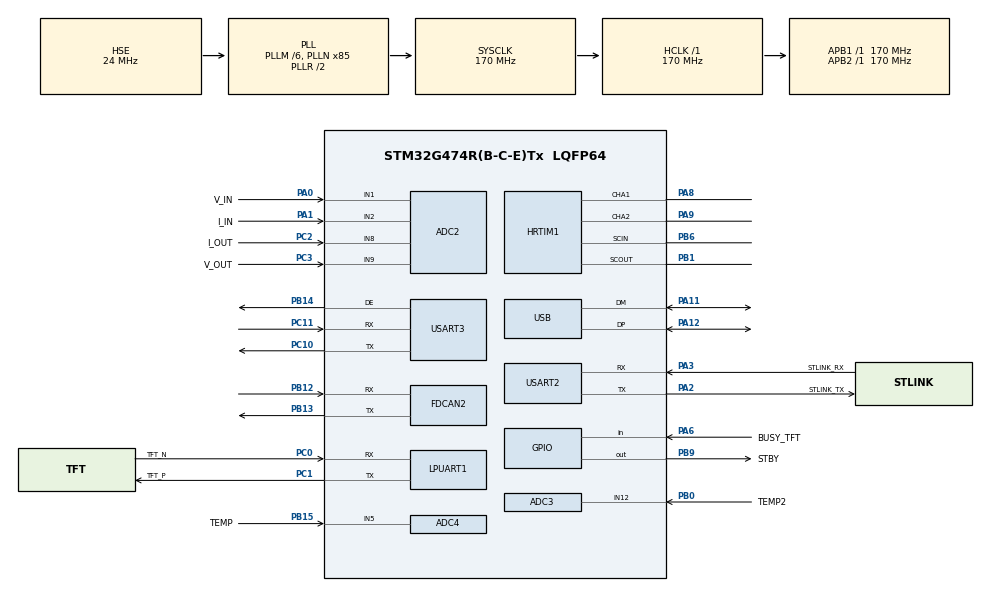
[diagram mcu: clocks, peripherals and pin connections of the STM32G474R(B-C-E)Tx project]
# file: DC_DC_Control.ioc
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ADC2.Channel-0\#ChannelRegularConversion=ADC_CHANNEL_1
ADC2.Channel-1\#ChannelRegularConversion=ADC_CHANNEL_2
ADC2.Channel-2\#ChannelRegularConversion=ADC_CHANNEL_9
ADC2.Channel-3\#ChannelRegularConversion=ADC_CHANNEL_8
ADC2.ContinuousConvMode=DISABLE
ADC2.DMAContinuousRequests=DISABLE
ADC2.ExternalTrigConv=ADC_EXTERNALTRIG_HRTIM_TRG1
ADC2.NbrOfConversion=4
ADC2.NbrOfConversionFlag=1
ADC2.OffsetNumber-0\#ChannelRegularConversion=ADC_OFFSET_NONE
ADC2.OffsetNumber-1\#ChannelRegularConversion=ADC_OFFSET_NONE
ADC2.OffsetNumber-2\#ChannelRegularConversion=ADC_OFFSET_NONE
ADC2.OffsetNumber-3\#ChannelRegularConversion=ADC_OFFSET_NONE
ADC2.Overrun=ADC_OVR_DATA_OVERWRITTEN
ADC2.Rank-0\#ChannelRegularConversion=1
ADC2.Rank-1\#ChannelRegularConversion=2
ADC2.Rank-2\#ChannelRegularConversion=3
ADC2.Rank-3\#ChannelRegularConversion=4
ADC2.SamplingTime-0\#ChannelRegularConversion=ADC_SAMPLETIME_2CYCLES_5
ADC2.SamplingTime-1\#ChannelRegularConversion=ADC_SAMPLETIME_2CYCLES_5
ADC2.SamplingTime-2\#ChannelRegularConversion=ADC_SAMPLETIME_2CYCLES_5
ADC2.SamplingTime-3\#ChannelRegularConversion=ADC_SAMPLETIME_2CYCLES_5
ADC3.Channel-1\#ChannelRegularConversion=ADC_CHANNEL_12
ADC3.NbrOfConversionFlag=1
ADC3.OffsetNumber-1\#ChannelRegularConversion=ADC_OFFSET_NONE
ADC3.Rank-1\#ChannelRegularConversion=1
ADC3.SamplingTime-1\#ChannelRegularConversion=ADC_SAMPLETIME_2CYCLES_5
ADC3.master=1
ADC4.Channel-0\#ChannelRegularConversion=ADC_CHANNEL_5
ADC4.NbrOfConversionFlag=1
ADC4.OffsetNumber-0\#ChannelRegularConversion=ADC_OFFSET_NONE
ADC4.Rank-0\#ChannelRegularConversion=1
ADC4.SamplingTime-0\#ChannelRegularConversion=ADC_SAMPLETIME_2CYCLES_5
Dma.ADC2.0.Direction=DMA_PERIPH_TO_MEMORY
Dma.ADC2.0.EventEnable=DISABLE
Dma.ADC2.0.Instance=DMA1_Channel1
Dma.ADC2.0.MemDataAlignment=DMA_MDATAALIGN_HALFWORD
Dma.ADC2.0.MemInc=DMA_MINC_ENABLE
Dma.ADC2.0.Mode=DMA_NORMAL
Dma.ADC2.0.PeriphDataAlignment=DMA_PDATAALIGN_HALFWORD
Dma.ADC2.0.PeriphInc=DMA_PINC_DISABLE
Dma.ADC2.0.Polarity=HAL_DMAMUX_REQ_GEN_RISING
Dma.ADC2.0.Priority=DMA_PRIORITY_LOW
Dma.ADC2.0.RequestNumber=1
Dma.ADC2.0.SignalID=NONE
Dma.ADC2.0.SyncEnable=DISABLE
Dma.ADC2.0.SyncPolarity=HAL_DMAMUX_SYNC_NO_EVENT
Dma.ADC2.0.SyncRequestNumber=1
Dma.ADC2.0.SyncSignalID=NONE
Dma.Request0=ADC2
FDCAN2.CalculateBaudRateNominal=2125000
FDCAN2.CalculateTimeBitNominal=470
FDCAN2.CalculateTimeQuantumNominal=94.11764705882354
HRTIM1.ADCTrigger2_Source1=HRTIM_ADCTRIGGEREVENT24_TIMERA_PERIOD
HRTIM1.ADCTrigger_Id2=HRTIM_ADCTRIGGER_2
HRTIM1.CompareUnit1-Output_TA1TA2=HRTIM_COMPAREUNIT_1
HRTIM1.CompareValue1-Output_TA1TA2=27200
HRTIM1.NumberADCTriggerSource2=1
HRTIM1.Periode_TA=54400
HRTIM1.PrescalerRatio_TA=HRTIM_PRESCALERRATIO_MUL32
Mcu.Family=STM32G4
Mcu.Name=STM32G474R(B-C-E)Tx
Mcu.Package=LQFP64
NVIC.ADC1_2_IRQn=true\:0\:0\:false\:false\:true\:true\:true\:true
NVIC.DMA1_Channel1_IRQn=true\:0\:0\:false\:false\:true\:false\:true\:true
NVIC.PriorityGroup=NVIC_PRIORITYGROUP_4
NVIC.TIM1_UP_TIM16_IRQn=true\:15\:0\:false\:false\:true\:false\:true\:true
NVIC.TimeBase=TIM1_UP_TIM16_IRQn
NVIC.TimeBaseIP=TIM1
PA0.GPIO_Label=V_IN
PA0.Mode=IN1-Single-Ended
PA0.Signal=ADC2_IN1
PA1.GPIO_Label=I_IN
PA1.Mode=IN2-Single-Ended
PA1.Signal=ADC2_IN2
PA11.Mode=Device
PA11.Signal=USB_DM
PA12.Mode=Device
PA12.Signal=USB_DP
PA13.Mode=Trace_Asynchronous_SW
PA13.Signal=SYS_JTMS-SWDIO
PA14.Mode=Trace_Asynchronous_SW
PA14.Signal=SYS_JTCK-SWCLK
PA2.GPIO_Label=STLINK_TX
PA2.Mode=Asynchronous
PA2.Signal=USART2_TX
PA3.GPIO_Label=STLINK_RX
PA3.Mode=Asynchronous
PA3.Signal=USART2_RX
PA6.GPIO_Label=BUSY_TFT
PA6.Signal=GPIO_Input
PA8.Mode=Output_TA1TA2
PA8.Signal=HRTIM1_CHA1
PA9.Mode=Output_TA1TA2
PA9.Signal=HRTIM1_CHA2
PB0.GPIO_Label=TEMP2
PB0.Mode=IN12-Single-Ended
PB0.Signal=ADC3_IN12
PB1.Mode=SCOUT_SCINmode
PB1.Signal=HRTIM1_SCOUT
PB12.Mode=FDCAN_Activate
PB12.Signal=FDCAN2_RX
PB13.Mode=FDCAN_Activate
PB13.Signal=FDCAN2_TX
PB14.Mode=Hardware Flow Control (RS485)
PB14.Signal=USART3_DE
PB15.GPIO_Label=TEMP
PB15.Mode=IN5-Single-Ended
PB15.Signal=ADC4_IN5
PB3.Mode=Trace_Asynchronous_SW
PB3.Signal=SYS_JTDO-SWO
PB6.Mode=SCOUT_SCINmode
PB6.Signal=HRTIM1_SCIN
PB9.GPIO_Label=STBY
PB9.Signal=GPIO_Output
PC0.GPIO_Label=TFT_N
PC0.Mode=Asynchronous
PC0.Signal=LPUART1_RX
PC1.GPIO_Label=TFT_P
PC1.Mode=Asynchronous
PC1.Signal=LPUART1_TX
PC10.Mode=Asynchronous
PC10.Signal=USART3_TX
PC11.Mode=Asynchronous
PC11.Signal=USART3_RX
PC2.GPIO_Label=I_OUT
PC2.Mode=IN8-Single-Ended
PC2.Signal=ADC2_IN8
PC3.GPIO_Label=V_OUT
PC3.Mode=IN9-Single-Ended
PC3.Signal=ADC2_IN9
PF0-OSC_IN.Mode=HSE-External-Oscillator
PF0-OSC_IN.Signal=RCC_OSC_IN
PF1-OSC_OUT.Mode=HSE-External-Oscillator
PF1-OSC_OUT.Signal=RCC_OSC_OUT
ProjectManager.HeapSize=0x200
ProjectManager.StackSize=0x400
ProjectManager.TargetToolchain=STM32CubeIDE
RCC.ADC12Freq_Value=170000000
RCC.ADC345Freq_Value=170000000
RCC.AHBFreq_Value=170000000
RCC.APB1Freq_Value=170000000
RCC.APB1TimFreq_Value=170000000
RCC.APB2Freq_Value=170000000
RCC.APB2TimFreq_Value=170000000
RCC.CK48CLockSelection=RCC_USBCLKSOURCE_HSI48
RCC.CortexFreq_Value=170000000
RCC.EXTERNAL_CLOCK_VALUE=12288000
RCC.HCLKFreq_Value=170000000
RCC.HSE_VALUE=24000000
RCC.HSI48_VALUE=48000000
RCC.HSI_VALUE=16000000
RCC.LSE_VALUE=32768
RCC.PLLM=RCC_PLLM_DIV6
RCC.PLLN=85
RCC.PLLSourceVirtual=RCC_PLLSOURCE_HSE
RCC.SYSCLKFreq_VALUE=170000000
RCC.SYSCLKSource=RCC_SYSCLKSOURCE_PLLCLK
RCC.USBFreq_Value=48000000
RCC.VCOOutputFreq_Value=340000000
USART2.VirtualMode-Asynchronous=VM_ASYNC
USART3.VirtualMode-Asynchronous=VM_ASYNC
USART3.VirtualMode-Hardware\ Flow\ Control\ (RS485)=VM_ASYNC
VP_SYS_VS_DBSignals.Mode=DisableDeadBatterySignals
VP_SYS_VS_tim1.Mode=TIM1
board=custom

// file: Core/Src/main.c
/* USER CODE BEGIN Header */
/**
  ******************************************************************************
  * @file           : main.c
  * @brief          : Main program body
  ******************************************************************************
  * @attention
  *
  * Copyright (c) 2024 STMicroelectronics.
  * All rights reserved.
  *
  * This software is licensed under terms that can be found in the LICENSE file
  * in the root directory of this software component.
  * If no LICENSE file comes with this software, it is provided AS-IS.
  *
  ******************************************************************************
  */
/* USER CODE END Header */
#include "main.h"
#include "adc.h"
#include "dma.h"
#include "fdcan.h"
#include "hrtim.h"
#include "usart.h"
#include "usb.h"
#include "gpio.h"

/* USER CODE BEGIN Includes */
#include "controllers.h"
#include "math.h"

/* USER CODE END Includes */

/* USER CODE BEGIN PD */
#define ADC_BUF_SIZE 4

/* USER CODE END PD */

/* USER CODE BEGIN PV */
extern uint32_t ADC_DMA[ADC_BUF_SIZE];
uint32_t adcVal;
uint8_t adcFlag  = 0;
float realTemp(uint32_t dig);
//This function convert digital value by adc in current
float realCurrent(uint32_t dig);
//This function convert digital value by adc in voltage
float realVoltage(uint32_t dig);
//This function make direct DAC without consideration of acq chain conditionning
float rawVoltage(uint32_t dig);
uint32_t adcValue ;
uint32_t Get_ADC_Value(ADC_HandleTypeDef *hadc, uint32_t channel,uint32_t rank);
void PowerPWMSet(uint32_t frequency, float dutycycle);
float temp1,temp2,Vin,Iin,Vout,Iout;
float ovRef = 9.0 ;
float ovMeasure ;
float DutyCycle ;
PIController PI_voltage;
int cpt ;
/* USER CODE END PV */

void SystemClock_Config(void);
/* USER CODE BEGIN PFP */
//void updateADCVal(void)
//{
//
//	/* Moving ADC values from DMA buffer to variables */
//	vInVal = adcVals[0];
//	iInVal = adcVals[1];
//	vOutVal = adcVals[2];
//	iOutVal = adcVals[3];
//}
/* USER CODE END PFP */

int main(void)
{

  /* USER CODE BEGIN 1 */
	//ConfigPIController(&PI_voltage,Kp_i,Ti_i,Up_limit_i,Low_limit_i,F_samp);
	ConfigPIController(&PI_voltage,0.0017f,(0.0017f/0.5f),0.8f,0.1f,1000.0);
	//Ki=Kp/Ti

  /* USER CODE END 1 */

  /* MCU Configuration--------------------------------------------------------*/

  /* Reset of all peripherals, Initializes the Flash interface and the Systick. */
  HAL_Init();

  /* Configure the system clock */
  SystemClock_Config();

  /* Initialize all configured peripherals */
  MX_GPIO_Init();
  MX_DMA_Init();
  MX_ADC2_Init();
  MX_ADC3_Init();
  MX_FDCAN2_Init();
  MX_HRTIM1_Init();
  MX_LPUART1_UART_Init();
  MX_USART2_UART_Init();
  MX_USART3_UART_Init();
  MX_USB_PCD_Init();
  MX_ADC4_Init();
  /* USER CODE BEGIN 2 */

  /* Calibrating ADCs for better accuracy */
  if(HAL_ADCEx_Calibration_Start(&hadc2, ADC_SINGLE_ENDED) != HAL_OK)
	  Error_Handler();

  if(HAL_ADCEx_Calibration_Start(&hadc3, ADC_SINGLE_ENDED) != HAL_OK)
	  Error_Handler();

  if(HAL_ADCEx_Calibration_Start(&hadc4, ADC_SINGLE_ENDED) != HAL_OK)
	  Error_Handler();

  /* Starting ADC in DMA mode */
  /*if(HAL_ADC_Start_DMA(&hadc2, ADC_DMA, ADC_BUF_SIZE) != HAL_OK)
	  Error_Handler();*/

  /* Starting ADCs in normal mode */
  if(HAL_ADC_Start(&hadc2) != HAL_OK)
    	  Error_Handler();

  if(HAL_ADC_Start(&hadc3) != HAL_OK)
  	  Error_Handler();

  if(HAL_ADC_Start(&hadc4) != HAL_OK)
  	  Error_Handler();

  /* Turn on PWM output */
  HAL_HRTIM_WaveformOutputStart(&hhrtim1, HRTIM_OUTPUT_TA1 | HRTIM_OUTPUT_TA2);

  /* Start counter */
  HAL_HRTIM_WaveformCountStart(&hhrtim1, HRTIM_TIMERID_TIMER_A);

  //HAL_HRTIM_WaveformOutputStop(&hhrtim1, HRTIM_OUTPUT_TA1 + HRTIM_OUTPUT_TA2);
  PowerPWMSet(100000,(1-0.33));//Function created to ease dutty cycle modification

  /* USER CODE END 2 */

  /* Infinite loop */
  /* USER CODE BEGIN WHILE */
  while (1)
  {
	  	  for(int i=0;i<10;i++)
	  	  {
	  	  	adcValue = adcValue + Get_ADC_Value(&hadc4, ADC_CHANNEL_5,ADC_REGULAR_RANK_1);
	  	  }
	  	  temp1 = realTemp((float)adcValue/10.0f);
	  	  adcValue = 0;

	  	  for(int i=0;i<10;i++)
	  	  {
	  	  	 adcValue = adcValue + Get_ADC_Value(&hadc3, ADC_CHANNEL_12,ADC_REGULAR_RANK_1);
	  	  }
	  	  temp2 = realTemp((float)adcValue/10.0f);
	  	  adcValue = 0;

	  	  for(int i=0;i<100;i++)
	  	  {
	  		 adcValue = adcValue + Get_ADC_Value(&hadc2, ADC_CHANNEL_9,ADC_REGULAR_RANK_1);
	  	  }
	  	  Vout = realVoltage((float)adcValue/100.0f);
	  	  adcValue = 0;

	  	if(temp1<100 && temp2<100 && Vout <50)
	  		  {
	  			  //Close loop :
	  			  	//1 -  Set output voltage

	  			  	//2 - Measure output voltage
	  			       ovMeasure = fabs(Vout);
	  			  	// 3 - Calculte Error = Set - Meas & new dc
	  			       DutyCycle = RunPIController(&PI_voltage, (ovRef-ovMeasure));
	  			  	//4 -update pwm
	  			     //HAL_HRTIM_WaveformOutputStart(&hhrtim1, HRTIM_OUTPUT_TA1 | HRTIM_OUTPUT_TA2);
	  			     PowerPWMSet(100000,(1-DutyCycle));

	  		  }
	  		  else
	  		  {
	  			  //HAL_HRTIM_WaveformOutputStop(&hhrtim1, HRTIM_OUTPUT_TA1 + HRTIM_OUTPUT_TA2);
	  			  DutyCycle = 1 - 0.05;
	  			PowerPWMSet(100000, DutyCycle);
	  		  }

	  	  /*for(int i=0;i<10;i++)
	  	  {
	  	  	adcValue = adcValue + Get_ADC_Value(&hadc2, ADC_CHANNEL_2);
	  	  }
	  	  Iin = realCurrent((float)adcValue/10.0f);
	  	  adcValue = 0;

	  	  for(int i=0;i<10;i++)
	  	  {
	  		adcValue = adcValue + Get_ADC_Value(&hadc2, ADC_CHANNEL_9);
	  	  }
	  	  Vout = realVoltage((float)adcValue/10.0f);
	  	  adcValue = 0;

	  	  for(int i=0;i<10;i++)
	  	  {
	  		adcValue = adcValue + Get_ADC_Value(&hadc2, ADC_CHANNEL_8);
	  	  }
	  	  Iout= realCurrent((float)adcValue/10.0f);
	  	  adcValue = 0;*/
	  	  uint8_t buffer[64];
	  	  snprintf(buffer, 64, "Vin:%.2f, Vout:%.2f, Duty Cycle:%.2f\r\n", Vin, ovMeasure, DutyCycle);

	  	  HAL_UART_Transmit(&huart2,buffer, 64, 500);
		  HAL_Delay(1); // Delay for 10 milllisecond
		  //cpt=cpt+1;
	  //}
    /* USER CODE END WHILE */

  }
}

void SystemClock_Config(void)
{
  RCC_OscInitTypeDef RCC_OscInitStruct = {0};
  RCC_ClkInitTypeDef RCC_ClkInitStruct = {0};

  /** Configure the main internal regulator output voltage
  */
  HAL_PWREx_ControlVoltageScaling(PWR_REGULATOR_VOLTAGE_SCALE1_BOOST);

  /** Initializes the RCC Oscillators according to the specified parameters
  * in the RCC_OscInitTypeDef structure.
  */
  RCC_OscInitStruct.OscillatorType = RCC_OSCILLATORTYPE_HSI48|RCC_OSCILLATORTYPE_HSE;
  RCC_OscInitStruct.HSEState = RCC_HSE_ON;
  RCC_OscInitStruct.HSI48State = RCC_HSI48_ON;
  RCC_OscInitStruct.PLL.PLLState = RCC_PLL_ON;
  RCC_OscInitStruct.PLL.PLLSource = RCC_PLLSOURCE_HSE;
  RCC_OscInitStruct.PLL.PLLM = RCC_PLLM_DIV6;
  RCC_OscInitStruct.PLL.PLLN = 85;
  RCC_OscInitStruct.PLL.PLLP = RCC_PLLP_DIV2;
  RCC_OscInitStruct.PLL.PLLQ = RCC_PLLQ_DIV2;
  RCC_OscInitStruct.PLL.PLLR = RCC_PLLR_DIV2;
  if (HAL_RCC_OscConfig(&RCC_OscInitStruct) != HAL_OK)
  {
    Error_Handler();
  }

  /** Initializes the CPU, AHB and APB buses clocks
  */
  RCC_ClkInitStruct.ClockType = RCC_CLOCKTYPE_HCLK|RCC_CLOCKTYPE_SYSCLK
                              |RCC_CLOCKTYPE_PCLK1|RCC_CLOCKTYPE_PCLK2;
  RCC_ClkInitStruct.SYSCLKSource = RCC_SYSCLKSOURCE_PLLCLK;
  RCC_ClkInitStruct.AHBCLKDivider = RCC_SYSCLK_DIV1;
  RCC_ClkInitStruct.APB1CLKDivider = RCC_HCLK_DIV1;
  RCC_ClkInitStruct.APB2CLKDivider = RCC_HCLK_DIV1;

  if (HAL_RCC_ClockConfig(&RCC_ClkInitStruct, FLASH_LATENCY_4) != HAL_OK)
  {
    Error_Handler();
  }
}

/* USER CODE BEGIN 4 */

/* ADC DMA callback function */
void HAL_ADC_ConvCpltCallback(ADC_HandleTypeDef *hadc)
{
	adcFlag = 1;
}

/* USER CODE END 4 */

void HAL_TIM_PeriodElapsedCallback(TIM_HandleTypeDef *htim)
{
  if (htim->Instance == TIM1) {
    HAL_IncTick();
  }
}

void Error_Handler(void)
{
  __disable_irq();
  while (1)
  {
  }
}
